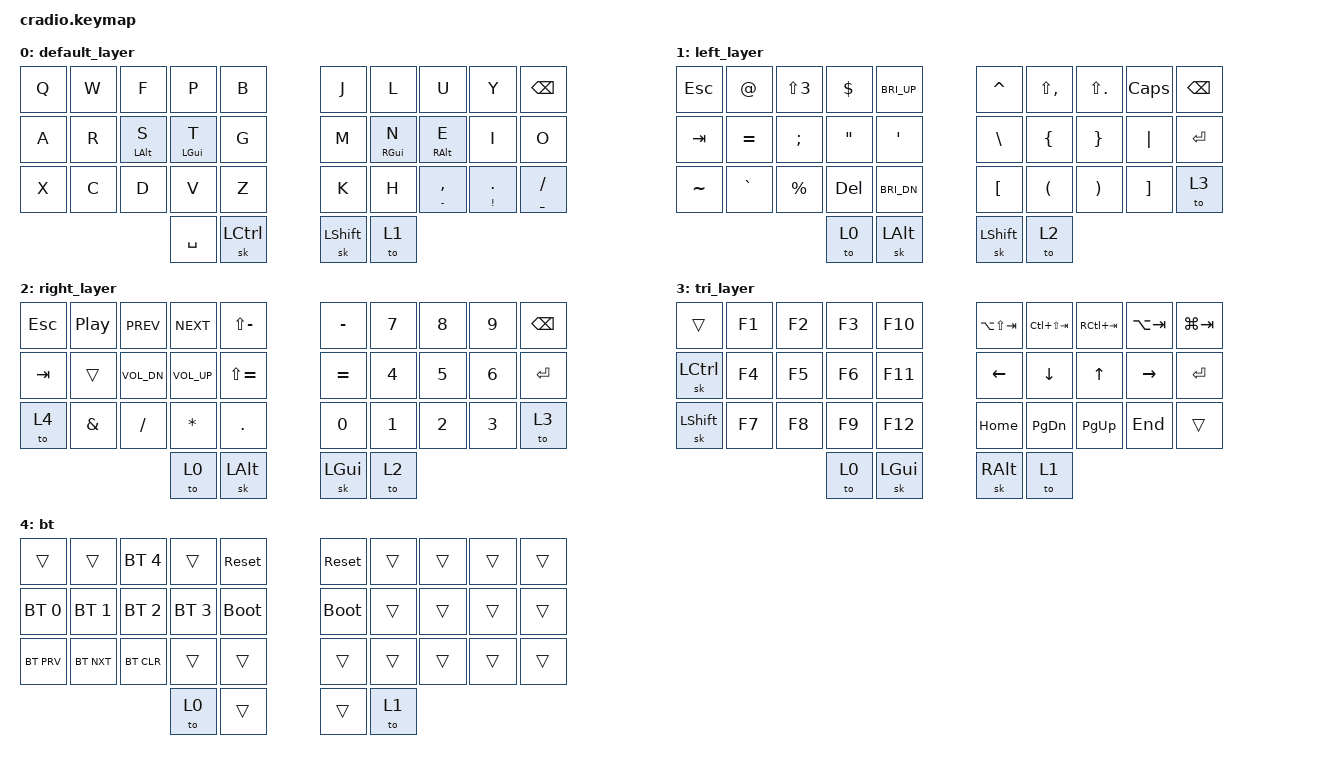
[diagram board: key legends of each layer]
// Copyright (c) 2022 The ZMK Contributors
// SPDX-License-Identifier: MIT

#include <behaviors.dtsi>
#include <dt-bindings/zmk/keys.h>
#include <dt-bindings/zmk/bt.h>

// Things to add/change
// - ctrl gui arrows
// - ctrl arrows
// - bootloader
// - reset
// - flux brightness
// - mouse buttons
// - alt to the left hand

&mt {
    flavor = "tap-preferred";
    tapping_term_ms = <200>;
};



/ {
    behaviors {
        hm: homerow_mods {
            compatible = "zmk,behavior-hold-tap";
            label = "HOMEROW_MODS";
            #binding-cells = <2>;
            tapping-term-ms = <200>;
            quick_tap_ms = <0>;
            flavor = "tap-preferred";
            bindings = <&kp>, <&kp>;
        };
	    td: tapdance {
            compatible = "zmk,behavior-hold-tap";
            label = "TAPDANCE";
            #binding-cells = <2>;
            tapping-term-ms = <150>;
            quick_tap_ms = <0>;
            flavor = "tap-preferred";
            bindings = <&kp>, <&kp>;
        };
    };

    keymap {
        compatible = "zmk,keymap";
                
       	default_layer {
			bindings = <
			&kp Q &kp W &kp F &kp P &kp B 									&kp J &kp L  &kp U  &kp Y  &kp BSPC
			&kp A &kp R &hm LALT S &hm LGUI T &kp G 			       		&kp M &hm RGUI N &hm RALT E &kp I &kp O
			&kp X &kp C &kp D &kp V &kp Z				        			&kp K &kp H  &td MINUS COMMA  &td EXCL DOT  &td UNDERSCORE SLASH
							&kp SPACE &sk LCTRL  							&sk LSHIFT &to 1
			>;
		};

       	left_layer {
			bindings = <
			&kp ESC  &kp AT   &kp LS(N3) &kp DLLR  &kp C_BRI_UP				&kp CARET &kp LS(COMMA) &kp LS(DOT) &kp CAPS &kp BSPC 
			&kp TAB  &kp EQUAL  &kp SEMI  &kp DQT    &kp SQT 				&kp BSLH &kp LBRC  &kp RBRC &kp PIPE  &kp ENTER
			&kp TILDE &kp GRAVE &kp PRCNT &kp DEL &kp C_BRI_DN 				&kp LBKT &kp LPAR &kp RPAR &kp RBKT  &to 3 
										&to 0  &sk LALT  					&sk LSHIFT &to 2 
			>;
		};
		
		right_layer {
			bindings = <
			&kp ESC  &kp C_PP &kp C_PREV  &kp C_NEXT  &kp LS(MINUS)    				&kp MINUS  &kp N7 &kp N8 &kp N9 &kp BSPC
			&kp TAB  &trans   &kp C_VOL_DN  &kp C_VOL_UP  &kp LS(EQUAL) 			&kp EQUAL &kp N4  &kp N5  &kp N6   &kp ENTER
			&to 4  &kp AMPS &kp SLASH &kp STAR &kp DOT    							&kp N0 &kp N1 &kp N2 &kp N3  &to 3 
												&to 0 &sk LALT  					&sk LGUI  &to 2 
			>;
		};
		
		tri_layer {
			bindings = <
			&trans &kp F1 &kp F2 &kp F3 &kp F10 						&kp LA(LS(TAB))   &kp LC(LS(TAB))   &kp RC(TAB) &kp LA(TAB) &kp LG(TAB)
			&sk LCTRL &kp F4 &kp F5 &kp F6 &kp F11  					&kp LEFT &kp DOWN  &kp UP &kp RIGHT &kp ENTER 
			&sk LSHIFT &kp F7 &kp F8 &kp F9 &kp F12   					&kp HOME &kp PG_DN  &kp PG_UP &kp END  &trans   
									&to 0 &sk LGUI  					&sk RALT &to 1 
			>;
		};	
		bt {
			bindings = <
			&trans  &trans &bt BT_SEL 4 &trans &sys_reset 						&sys_reset &trans &trans &trans &trans 
			&bt BT_SEL 0  &bt BT_SEL 1 &bt BT_SEL 2 &bt BT_SEL 3 &bootloader 	&bootloader &trans &trans &trans &trans 
			&bt BT_PRV  &bt BT_NXT &bt BT_CLR &trans &trans   					&trans &trans &trans &trans &trans   
											&to 0 &trans  						&trans &to 1 
			>;
		};
        
	};
};
